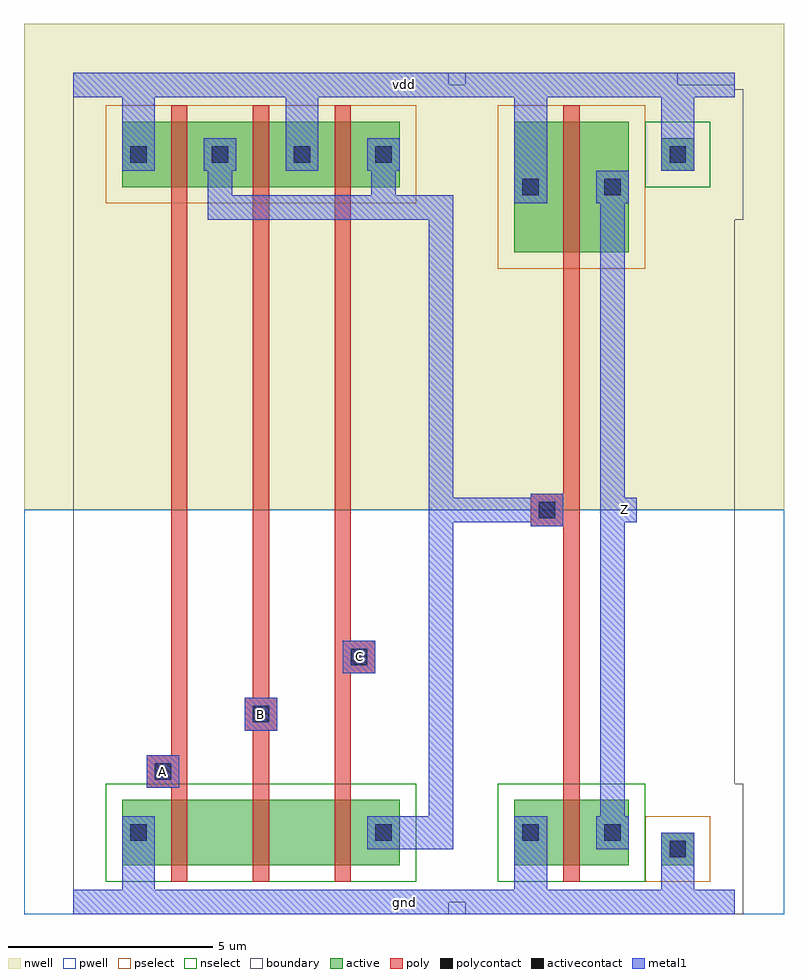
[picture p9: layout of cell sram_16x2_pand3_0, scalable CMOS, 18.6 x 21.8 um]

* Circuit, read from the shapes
.subckt sram_16x2_pand3_0 A B C Z gnd vdd
M1 sram_16x2_pnand3_0_0/sram_16x2_nmos_m1_w1_600_sm1_dactive_3/D A gnd gnd nfet w=1.6u l=0.4u
M2 sram_16x2_pnand3_0_0/sram_16x2_nmos_m1_w1_600_sactive_dactive_4/D B sram_16x2_pnand3_0_0/sram_16x2_nmos_m1_w1_600_sm1_dactive_3/D gnd nfet w=1.6u l=0.4u
M3 sram_16x2_pdriver_3_1/A C sram_16x2_pnand3_0_0/sram_16x2_nmos_m1_w1_600_sactive_dactive_4/D gnd nfet w=1.6u l=0.4u
M4 Z sram_16x2_pdriver_3_1/A gnd gnd nfet w=1.6u l=0.4u
M5 sram_16x2_pdriver_3_1/A A vdd vdd pfet w=1.6u l=0.4u
M6 vdd B sram_16x2_pdriver_3_1/A vdd pfet w=1.6u l=0.4u
M7 sram_16x2_pdriver_3_1/A C vdd vdd pfet w=1.6u l=0.4u
M8 Z sram_16x2_pdriver_3_1/A vdd vdd pfet w=3.2u l=0.4u
.ends

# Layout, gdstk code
import gdstk
lib = gdstk.Library(unit=1e-6, precision=1e-09)
def R(c, l, rs):  # rectangles x0, y0, x1, y1
    for r in rs: c.add(gdstk.rectangle(r[:2], r[2:], *l))
def A(c, l, x, y, w, h, nx, ny, dx, dy):  # array of equal rectangles
    R(c, l, [(x+i*dx, y+j*dy, x+i*dx+w, y+j*dy+h) for i in range(nx) for j in range(ny)])
pwell = (41, 0)
nwell = (42, 0)
active = (43, 0)
pselect = (44, 0)
nselect = (45, 0)
poly = (46, 0)
polycontact = (47, 0)
activecontact = (48, 0)
metal1 = (49, 0)
boundary = (63, 0)

sram_16x2_contact_12 = lib.new_cell('sram_16x2_contact_12')
R(sram_16x2_contact_12, nwell, [(-1.2,-1.2,2,2)])
R(sram_16x2_contact_12, active, [(0,0,0.8,0.8)])
R(sram_16x2_contact_12, pselect, [(-0.4,-0.4,1.2,1.2)])
R(sram_16x2_contact_12, activecontact, [(0.2,0.2,0.6,0.6)])
R(sram_16x2_contact_12, metal1, [(0,0,0.8,0.8)])
R(sram_16x2_contact_12, boundary, [(-1.2,-1.2,2,2)])

sram_16x2_pmos_m1_w1_600 = lib.new_cell('sram_16x2_pmos_m1_w1_600_sm1_dm1')
R(sram_16x2_pmos_m1_w1_600, nwell, [(-1.2,-1.2,4,2.8)])
R(sram_16x2_pmos_m1_w1_600, active, [(0,0,2.8,1.6)])
R(sram_16x2_pmos_m1_w1_600, pselect, [(-0.4,-0.4,3.2,2)])
R(sram_16x2_pmos_m1_w1_600, poly, [(1.2,-0.4,1.6,2), (1.2,-0.4,1.6,2)])
R(sram_16x2_pmos_m1_w1_600, metal1, [(0,0.4,0.8,1.2), (2,0.4,2.8,1.2)])
R(sram_16x2_pmos_m1_w1_600, boundary, [(-1.2,-1.2,4,2.8)])
sram_16x2_pmos_m1_w1_600.add(gdstk.Reference(sram_16x2_contact_12, (0,0.4)))
sram_16x2_pmos_m1_w1_600.add(gdstk.Reference(sram_16x2_contact_12, (2,0.4)))
sram_16x2_pmos_m1_w1_600.add(gdstk.Label('G', (1.4,0.8), layer=46, texttype=0))
sram_16x2_pmos_m1_w1_600.add(gdstk.Label('S', (0.4,0.8), layer=49, texttype=0))
sram_16x2_pmos_m1_w1_600.add(gdstk.Label('D', (2.4,0.8), layer=49, texttype=0))

sram_16x2_contact_11 = lib.new_cell('sram_16x2_contact_11')
R(sram_16x2_contact_11, pwell, [(-1.2,-1.2,2,2)])
R(sram_16x2_contact_11, active, [(0,0,0.8,0.8)])
R(sram_16x2_contact_11, nselect, [(-0.4,-0.4,1.2,1.2)])
R(sram_16x2_contact_11, activecontact, [(0.2,0.2,0.6,0.6)])
R(sram_16x2_contact_11, metal1, [(0,0,0.8,0.8)])
R(sram_16x2_contact_11, boundary, [(-1.2,-1.2,2,2)])

sram_16x2_nmos_m1_w1_600 = lib.new_cell('sram_16x2_nmos_m1_w1_600_sm1_dactive')
R(sram_16x2_nmos_m1_w1_600, pwell, [(-1.2,-1.2,4,2.8)])
R(sram_16x2_nmos_m1_w1_600, active, [(0,0,2.8,1.6), (2.1,0.5,2.7,1.1)])
R(sram_16x2_nmos_m1_w1_600, nselect, [(-0.4,-0.4,3.2,2)])
R(sram_16x2_nmos_m1_w1_600, poly, [(1.2,-0.4,1.6,2), (1.2,-0.4,1.6,2)])
R(sram_16x2_nmos_m1_w1_600, metal1, [(0,0.4,0.8,1.2)])
R(sram_16x2_nmos_m1_w1_600, boundary, [(-1.2,-1.2,4,2.8)])
sram_16x2_nmos_m1_w1_600.add(gdstk.Reference(sram_16x2_contact_11, (0,0.4)))
sram_16x2_nmos_m1_w1_600.add(gdstk.Label('G', (1.4,0.8), layer=46, texttype=0))
sram_16x2_nmos_m1_w1_600.add(gdstk.Label('S', (0.4,0.8), layer=49, texttype=0))
sram_16x2_nmos_m1_w1_600.add(gdstk.Label('D', (2.4,0.8), layer=43, texttype=0))

c_sram_16x2_nmos_m1_w1_600 = lib.new_cell('sram_16x2_nmos_m1_w1_600_sactive_dactive')
R(c_sram_16x2_nmos_m1_w1_600, pwell, [(-1.2,-1.2,4,2.8)])
R(c_sram_16x2_nmos_m1_w1_600, active, [(0,0,2.8,1.6), (0.1,0.5,0.7,1.1), (2.1,0.5,2.7,1.1)])
R(c_sram_16x2_nmos_m1_w1_600, nselect, [(-0.4,-0.4,3.2,2)])
R(c_sram_16x2_nmos_m1_w1_600, poly, [(1.2,-0.4,1.6,2), (1.2,-0.4,1.6,2)])
R(c_sram_16x2_nmos_m1_w1_600, boundary, [(-1.2,-1.2,4,2.8)])
c_sram_16x2_nmos_m1_w1_600.add(gdstk.Label('G', (1.4,0.8), layer=46, texttype=0))
c_sram_16x2_nmos_m1_w1_600.add(gdstk.Label('S', (0.4,0.8), layer=43, texttype=0))
c_sram_16x2_nmos_m1_w1_600.add(gdstk.Label('D', (2.4,0.8), layer=43, texttype=0))

c_sram_16x2_nmos_m1_w1_600_ = lib.new_cell('sram_16x2_nmos_m1_w1_600_sactive_dm1')
R(c_sram_16x2_nmos_m1_w1_600_, pwell, [(-1.2,-1.2,4,2.8)])
R(c_sram_16x2_nmos_m1_w1_600_, active, [(0,0,2.8,1.6), (0.1,0.5,0.7,1.1)])
R(c_sram_16x2_nmos_m1_w1_600_, nselect, [(-0.4,-0.4,3.2,2)])
R(c_sram_16x2_nmos_m1_w1_600_, poly, [(1.2,-0.4,1.6,2), (1.2,-0.4,1.6,2)])
R(c_sram_16x2_nmos_m1_w1_600_, metal1, [(2,0.4,2.8,1.2)])
R(c_sram_16x2_nmos_m1_w1_600_, boundary, [(-1.2,-1.2,4,2.8)])
c_sram_16x2_nmos_m1_w1_600_.add(gdstk.Reference(sram_16x2_contact_11, (2,0.4)))
c_sram_16x2_nmos_m1_w1_600_.add(gdstk.Label('G', (1.4,0.8), layer=46, texttype=0))
c_sram_16x2_nmos_m1_w1_600_.add(gdstk.Label('S', (0.4,0.8), layer=43, texttype=0))
c_sram_16x2_nmos_m1_w1_600_.add(gdstk.Label('D', (2.4,0.8), layer=49, texttype=0))

sram_16x2_contact_15 = lib.new_cell('sram_16x2_contact_15')
R(sram_16x2_contact_15, poly, [(0,0,0.8,0.8)])
R(sram_16x2_contact_15, polycontact, [(0.2,0.2,0.6,0.6)])
R(sram_16x2_contact_15, metal1, [(0,0,0.8,0.8)])
R(sram_16x2_contact_15, boundary, [(0,0,0.8,0.8)])

sram_16x2_pnand3_0 = lib.new_cell('sram_16x2_pnand3_0')
R(sram_16x2_pnand3_0, pwell, [(-1.2,-0.3,10.8,9.6)])
R(sram_16x2_pnand3_0, nwell, [(-1.2,9.6,10.8,21.5)])
A(sram_16x2_pnand3_0, poly, 2.4, 2.9, 0.4, 14.2, 3, 1, 2, 0)
R(sram_16x2_pnand3_0, poly, [(2.2,2.8,2.4,3.6), (4.4,4.2,4.6,5), (6.4,5.6,7,6.4)])
R(sram_16x2_pnand3_0, metal1, [(0,-0.3,9.6,0.3), (1.2,-0.3,2,1.3), (7.6,1.3,9,2.1), (8.7,1.3,9.3,17), (1.8,2.8,2.6,3.6), (4.2,4.2,5,5), (6.6,5.6,7.4,6.4), (3.3,16.7,3.9,17.3), (3.6,16.7,9,17.3), (7.3,16.7,7.9,17.3), (7.6,16.7,9,17.3), (8.7,16.7,9.3,17.3), (3.3,17,3.9,18.3), (7.3,17,7.9,18.3), (1.2,17.9,2,20.3), (5.2,17.9,6,20.3), (0,19.7,9.6,20.3)])
R(sram_16x2_pnand3_0, boundary, [(0,0,9.6,20), (0,0,9.6,20)])
sram_16x2_pnand3_0.add(gdstk.Reference(sram_16x2_pmos_m1_w1_600, (1.2,17.5)))
sram_16x2_pnand3_0.add(gdstk.Reference(sram_16x2_pmos_m1_w1_600, (3.2,17.5)))
sram_16x2_pnand3_0.add(gdstk.Reference(sram_16x2_pmos_m1_w1_600, (5.2,17.5)))
sram_16x2_pnand3_0.add(gdstk.Reference(sram_16x2_nmos_m1_w1_600, (1.2,0.9)))
sram_16x2_pnand3_0.add(gdstk.Reference(c_sram_16x2_nmos_m1_w1_600, (3.2,0.9)))
sram_16x2_pnand3_0.add(gdstk.Reference(c_sram_16x2_nmos_m1_w1_600_, (5.2,0.9)))
sram_16x2_pnand3_0.add(gdstk.Reference(sram_16x2_contact_15, (1.8,2.8)))
sram_16x2_pnand3_0.add(gdstk.Reference(sram_16x2_contact_15, (4.2,4.2)))
sram_16x2_pnand3_0.add(gdstk.Reference(sram_16x2_contact_15, (6.6,5.6)))
sram_16x2_pnand3_0.add(gdstk.Label('A', (2.2,3.2), layer=49, texttype=0))
sram_16x2_pnand3_0.add(gdstk.Label('B', (4.6,4.6), layer=49, texttype=0))
sram_16x2_pnand3_0.add(gdstk.Label('C', (7,6), layer=49, texttype=0))
sram_16x2_pnand3_0.add(gdstk.Label('Z', (9,17), layer=49, texttype=0))
sram_16x2_pnand3_0.add(gdstk.Label('gnd', (4.8,0), layer=49, texttype=0))
sram_16x2_pnand3_0.add(gdstk.Label('vdd', (4.8,20), layer=49, texttype=0))

sram_16x2_pmos_m1_w3_200 = lib.new_cell('sram_16x2_pmos_m1_w3_200_sm1_dm1_da_p')
R(sram_16x2_pmos_m1_w3_200, nwell, [(-1.2,-1.2,4,4.4)])
R(sram_16x2_pmos_m1_w3_200, active, [(0,0,2.8,3.2)])
R(sram_16x2_pmos_m1_w3_200, pselect, [(-0.4,-0.4,3.2,3.6)])
R(sram_16x2_pmos_m1_w3_200, poly, [(1.2,-0.4,1.6,3.6), (1.2,-0.4,1.6,3.6)])
R(sram_16x2_pmos_m1_w3_200, metal1, [(0,1.2,0.8,2), (2,1.2,2.8,2)])
R(sram_16x2_pmos_m1_w3_200, boundary, [(-1.2,-1.2,4,4.4)])
sram_16x2_pmos_m1_w3_200.add(gdstk.Reference(sram_16x2_contact_12, (0,1.2)))
sram_16x2_pmos_m1_w3_200.add(gdstk.Reference(sram_16x2_contact_12, (2,1.2)))
sram_16x2_pmos_m1_w3_200.add(gdstk.Label('G', (1.4,1.6), layer=46, texttype=0))
sram_16x2_pmos_m1_w3_200.add(gdstk.Label('S', (0.4,1.6), layer=49, texttype=0))
sram_16x2_pmos_m1_w3_200.add(gdstk.Label('D', (2.4,1.6), layer=49, texttype=0))

c_sram_16x2_nmos_m1_w1_600__ = lib.new_cell('sram_16x2_nmos_m1_w1_600_sm1_dm1_da_p')
R(c_sram_16x2_nmos_m1_w1_600__, pwell, [(-1.2,-1.2,4,2.8)])
R(c_sram_16x2_nmos_m1_w1_600__, active, [(0,0,2.8,1.6)])
R(c_sram_16x2_nmos_m1_w1_600__, nselect, [(-0.4,-0.4,3.2,2)])
R(c_sram_16x2_nmos_m1_w1_600__, poly, [(1.2,-0.4,1.6,2), (1.2,-0.4,1.6,2)])
R(c_sram_16x2_nmos_m1_w1_600__, metal1, [(0,0.4,0.8,1.2), (2,0.4,2.8,1.2)])
R(c_sram_16x2_nmos_m1_w1_600__, boundary, [(-1.2,-1.2,4,2.8)])
c_sram_16x2_nmos_m1_w1_600__.add(gdstk.Reference(sram_16x2_contact_11, (0,0.4)))
c_sram_16x2_nmos_m1_w1_600__.add(gdstk.Reference(sram_16x2_contact_11, (2,0.4)))
c_sram_16x2_nmos_m1_w1_600__.add(gdstk.Label('G', (1.4,0.8), layer=46, texttype=0))
c_sram_16x2_nmos_m1_w1_600__.add(gdstk.Label('S', (0.4,0.8), layer=49, texttype=0))
c_sram_16x2_nmos_m1_w1_600__.add(gdstk.Label('D', (2.4,0.8), layer=49, texttype=0))

sram_16x2_contact_13 = lib.new_cell('sram_16x2_contact_13')
R(sram_16x2_contact_13, nwell, [(-1.2,-1.2,2,2)])
R(sram_16x2_contact_13, active, [(0,0,0.8,0.8)])
R(sram_16x2_contact_13, nselect, [(-0.4,-0.4,1.2,1.2)])
R(sram_16x2_contact_13, activecontact, [(0.2,0.2,0.6,0.6)])
R(sram_16x2_contact_13, metal1, [(0,0,0.8,0.8)])
R(sram_16x2_contact_13, boundary, [(-1.2,-1.2,2,2)])

sram_16x2_contact_14 = lib.new_cell('sram_16x2_contact_14')
R(sram_16x2_contact_14, pwell, [(-1.2,-1.2,2,2)])
R(sram_16x2_contact_14, active, [(0,0,0.8,0.8)])
R(sram_16x2_contact_14, pselect, [(-0.4,-0.4,1.2,1.2)])
R(sram_16x2_contact_14, activecontact, [(0.2,0.2,0.6,0.6)])
R(sram_16x2_contact_14, metal1, [(0,0,0.8,0.8)])
R(sram_16x2_contact_14, boundary, [(-1.2,-1.2,2,2)])

sram_16x2_pinv_6 = lib.new_cell('sram_16x2_pinv_6')
R(sram_16x2_pinv_6, pwell, [(-1.2,-0.3,7.8,9.6)])
R(sram_16x2_pinv_6, nwell, [(-1.2,9.6,7.8,21.5)])
R(sram_16x2_pinv_6, poly, [(2.4,2.9,2.8,15.5), (2,9.2,2.4,10)])
R(sram_16x2_pinv_6, metal1, [(0,-0.3,6.6,0.3), (1.2,-0.3,2,1.3), (4.8,0,5.6,1.3), (3.3,1.3,3.9,17.9), (1.6,9.2,2.4,10), (3.6,9.3,4.2,9.9), (1.2,17.1,2,20.3), (4.8,18.3,5.6,20), (0,19.7,6.6,20.3)])
R(sram_16x2_pinv_6, boundary, [(0,0,6.6,20), (0,0,6.6,20)])
sram_16x2_pinv_6.add(gdstk.Reference(sram_16x2_pmos_m1_w3_200, (1.2,15.9)))
sram_16x2_pinv_6.add(gdstk.Reference(c_sram_16x2_nmos_m1_w1_600__, (1.2,0.9)))
sram_16x2_pinv_6.add(gdstk.Reference(sram_16x2_contact_13, (4.8,17.9)))
sram_16x2_pinv_6.add(gdstk.Reference(sram_16x2_contact_14, (4.8,0.9)))
sram_16x2_pinv_6.add(gdstk.Reference(sram_16x2_contact_15, (1.6,9.2)))
sram_16x2_pinv_6.add(gdstk.Label('A', (2,9.6), layer=49, texttype=0))
sram_16x2_pinv_6.add(gdstk.Label('Z', (3.9,9.6), layer=49, texttype=0))
sram_16x2_pinv_6.add(gdstk.Label('gnd', (3.3,0), layer=49, texttype=0))
sram_16x2_pinv_6.add(gdstk.Label('vdd', (3.3,20), layer=49, texttype=0))

sram_16x2_pdriver_3 = lib.new_cell('sram_16x2_pdriver_3')
R(sram_16x2_pdriver_3, pwell, [(-1.2,-0.3,7.8,9.6)])
R(sram_16x2_pdriver_3, nwell, [(-1.2,9.6,7.8,21.5)])
R(sram_16x2_pdriver_3, metal1, [(0,-0.3,6.6,0.3), (1.6,9.2,2.4,10), (3.6,9.3,4.2,9.9), (0,19.7,6.6,20.3)])
R(sram_16x2_pdriver_3, boundary, [(0,0,6.6,20), (0,0,6.6,20)])
sram_16x2_pdriver_3.add(gdstk.Reference(sram_16x2_pinv_6, (0,0)))
sram_16x2_pdriver_3.add(gdstk.Label('Z', (3.9,9.6), layer=49, texttype=0))
sram_16x2_pdriver_3.add(gdstk.Label('A', (2,9.6), layer=49, texttype=0))
sram_16x2_pdriver_3.add(gdstk.Label('gnd', (3.3,0), layer=49, texttype=0))
sram_16x2_pdriver_3.add(gdstk.Label('vdd', (3.3,20), layer=49, texttype=0))

sram_16x2_pand3_0 = lib.new_cell('sram_16x2_pand3_0')
R(sram_16x2_pand3_0, metal1, [(0,-0.3,16.2,0.3), (1.8,2.8,2.6,3.6), (4.2,4.2,5,5), (6.6,5.6,7.4,6.4), (8.7,9.3,9.3,9.9), (9,9.3,11.6,9.9), (13.2,9.3,13.8,9.9), (8.7,9.6,9.3,17), (0,19.7,16.2,20.3)])
R(sram_16x2_pand3_0, boundary, [(0,0,16.2,20), (0,0,16.2,20)])
sram_16x2_pand3_0.add(gdstk.Reference(sram_16x2_pnand3_0, (0,0)))
sram_16x2_pand3_0.add(gdstk.Reference(sram_16x2_pdriver_3, (9.6,0)))
sram_16x2_pand3_0.add(gdstk.Label('Z', (13.5,9.6), layer=49, texttype=0))
sram_16x2_pand3_0.add(gdstk.Label('A', (2.2,3.2), layer=49, texttype=0))
sram_16x2_pand3_0.add(gdstk.Label('B', (4.6,4.6), layer=49, texttype=0))
sram_16x2_pand3_0.add(gdstk.Label('C', (7,6), layer=49, texttype=0))
sram_16x2_pand3_0.add(gdstk.Label('gnd', (8.1,0), layer=49, texttype=0))
sram_16x2_pand3_0.add(gdstk.Label('vdd', (8.1,20), layer=49, texttype=0))

lib.write_gds('sram_16x2_pand3_0.gds')
